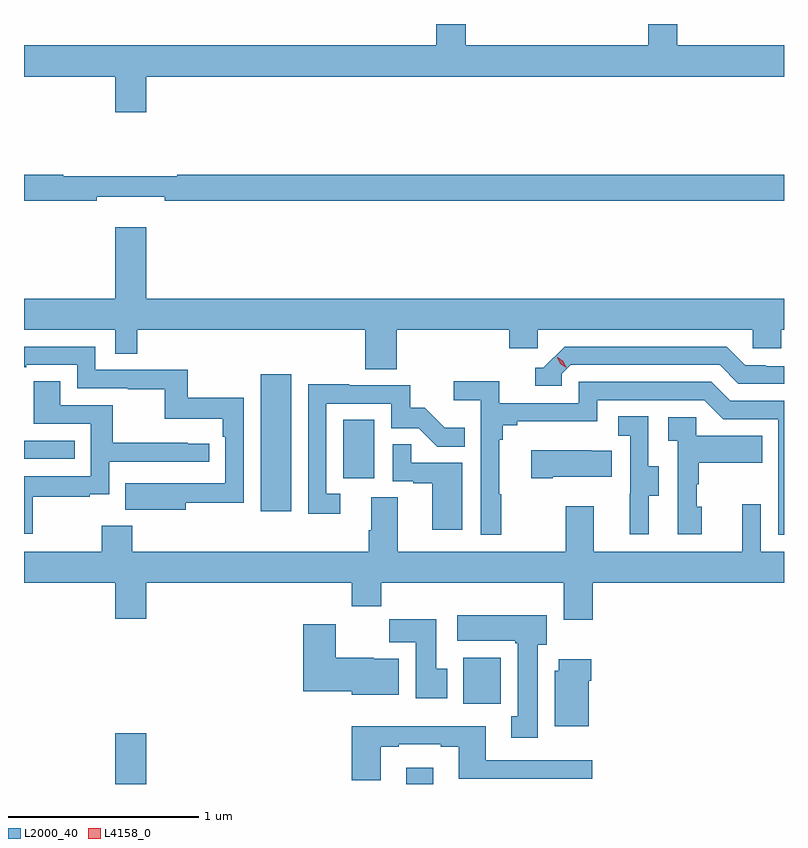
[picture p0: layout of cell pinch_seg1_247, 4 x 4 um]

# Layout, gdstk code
import gdstk
lib = gdstk.Library(unit=1e-6, precision=1e-09)
def R(c, l, rs):  # rectangles x0, y0, x1, y1
    for r in rs: c.add(gdstk.rectangle(r[:2], r[2:], *l))
def P(c, l, *ps):  # polygons
    for p in ps: c.add(gdstk.Polygon(p, *l))
L2000_40 = (2000, 40)
L4158_0 = (4158, 0)

pinch_seg1_247 = lib.new_cell('pinch_seg1_247')
R(pinch_seg1_247, L2000_40, [(908.264,573.317,908.428,573.583), (909.797,573.317,909.937,573.403), (910.097,573.74,910.294,573.982), (909.029,574.752,909.19,575.473), (909.464,574.926,909.628,575.233), (907.784,575.028,908.051,575.124)])
P(pinch_seg1_247, L2000_40, [(908.428,577.04),(911.784,577.04),(911.784,577.204),(911.222,577.204),(911.222,577.317),(911.069,577.317),(911.069,577.204),(910.109,577.204),(910.109,577.317),(909.953,577.317),(909.953,577.204),(907.784,577.204),(907.784,577.04),(908.264,577.04),(908.264,576.852),(908.428,576.852)],
  [(908.168,576.407),(908.524,576.407),(908.524,576.388),(911.784,576.388),(911.784,576.524),(908.591,576.524),(908.591,576.517),(907.991,576.517),(907.991,576.524),(907.784,576.524),(907.784,576.388),(908.168,576.388)],
  [(909.746,575.708),(910.337,575.708),(910.337,575.61),(910.488,575.61),(910.488,575.708),(911.619,575.708),(911.619,575.61),(911.769,575.61),(911.769,575.708),(911.784,575.708),(911.784,575.872),(908.428,575.872),(908.428,576.247),(908.264,576.247),(908.264,575.872),(907.784,575.872),(907.784,575.708),(908.265,575.708),(908.265,575.581),(908.381,575.581),(908.381,575.708),(909.581,575.708),(909.581,575.5),(909.746,575.5)],
  [(910.614,575.475),(910.662,575.523),(911.445,575.523),(911.544,575.424),(911.784,575.424),(911.784,575.517),(911.688,575.517),(911.688,575.52),(911.581,575.52),(911.482,575.619),(910.629,575.619),(910.518,575.508),(910.475,575.508),(910.475,575.412),(910.614,575.412)],
  [(908.635,574.798),(908.94,574.798),(908.94,575.35),(908.647,575.35),(908.647,575.496),(908.16,575.496),(908.16,575.619),(907.784,575.619),(907.784,575.511),(907.795,575.511),(907.795,575.523),(908.064,575.523),(908.064,575.4),(908.329,575.4),(908.329,575.395),(908.526,575.395),(908.526,575.24),(908.831,575.24),(908.831,575.144),(908.844,575.144),(908.844,574.899),(908.531,574.899),(908.531,574.9),(908.317,574.9),(908.317,574.76),(908.635,574.76)],
  [(907.831,574.83),(908.129,574.83),(908.129,574.841),(908.232,574.841),(908.232,575.013),(908.758,575.013),(908.758,575.109),(908.645,575.109),(908.645,575.114),(908.252,575.114),(908.252,575.31),(907.975,575.31),(907.975,575.438),(907.835,575.438),(907.835,575.214),(908.136,575.214),(908.136,574.938),(907.784,574.938),(907.784,574.635),(907.831,574.635)],
  [(910.297,574.841),(910.285,574.841),(910.285,575.129),(910.304,575.129),(910.304,575.206),(910.381,575.206),(910.381,575.225),(910.8,575.225),(910.8,575.337),(911.364,575.337),(911.463,575.238),(911.754,575.238),(911.754,574.629),(911.784,574.629),(911.784,575.334),(911.5,575.334),(911.401,575.433),(910.704,575.433),(910.704,575.322),(910.286,575.322),(910.286,575.438),(910.047,575.438),(910.047,575.336),(910.188,575.336),(910.188,574.629),(910.297,574.629)],
  [(909.448,574.845),(909.375,574.845),(909.375,575.319),(909.717,575.319),(909.717,575.19),(909.861,575.19),(909.959,575.092),(910.103,575.092),(910.103,575.191),(909.999,575.191),(909.892,575.298),(909.816,575.298),(909.816,575.415),(909.497,575.415),(909.497,575.42),(909.279,575.42),(909.279,574.74),(909.448,574.74)],
  [(911.071,574.834),(911.125,574.834),(911.125,574.989),(911.07,574.989),(911.07,575.252),(910.911,575.252),(910.911,575.149),(910.974,575.149),(910.974,574.845),(910.973,574.845),(910.973,574.632),(911.071,574.632)],
  [(911.35,574.776),(911.325,574.776),(911.325,574.895),(911.335,574.895),(911.335,575.009),(911.669,575.009),(911.669,575.149),(911.322,575.149),(911.322,575.247),(911.175,575.247),(911.175,575.123),(911.226,575.123),(911.226,574.632),(911.35,574.632)],
  [(910.09,575.007),(909.821,575.007),(909.821,575.105),(909.726,575.105),(909.726,574.911),(909.833,574.911),(909.833,574.899),(909.932,574.899),(909.932,574.656),(910.09,574.656)],
  [(910.567,574.934),(910.877,574.934),(910.877,575.071),(910.769,575.071),(910.769,575.074),(910.455,575.074),(910.455,574.927),(910.567,574.927)],
  [(910.778,574.376),(911.784,574.376),(911.784,574.54),(911.661,574.54),(911.661,574.789),(911.564,574.789),(911.564,574.54),(910.783,574.54),(910.783,574.78),(910.636,574.78),(910.636,574.54),(909.751,574.54),(909.751,574.826),(909.611,574.826),(909.611,574.652),(909.599,574.652),(909.599,574.54),(908.354,574.54),(908.354,574.675),(908.194,574.675),(908.194,574.54),(907.784,574.54),(907.784,574.376),(908.264,574.376),(908.264,574.188),(908.428,574.188),(908.428,574.376),(909.509,574.376),(909.509,574.252),(909.665,574.252),(909.665,574.376),(910.625,574.376),(910.625,574.182),(910.778,574.182)],
  [(910.489,574.05),(910.534,574.05),(910.534,574.204),(910.065,574.204),(910.065,574.07),(910.369,574.07),(910.369,574.057),(910.382,574.057),(910.382,573.674),(910.349,573.674),(910.349,573.561),(910.489,573.561)],
  [(910.012,573.924),(909.955,573.924),(909.955,574.183),(909.706,574.183),(909.706,574.064),(909.845,574.064),(909.845,573.768),(910.012,573.768)],
  [(909.757,573.976),(909.624,573.976),(909.624,573.982),(909.424,573.982),(909.424,574.159),(909.254,574.159),(909.254,573.806),(909.51,573.806),(909.51,573.788),(909.757,573.788)],
  [(910.756,573.86),(910.769,573.86),(910.769,573.973),(910.598,573.973),(910.598,573.912),(910.577,573.912),(910.577,573.62),(910.756,573.62)],
  [(909.661,573.513),(909.757,573.513),(909.757,573.525),(909.977,573.525),(909.977,573.513),(910.073,573.513),(910.073,573.344),(910.774,573.344),(910.774,573.441),(910.213,573.441),(910.213,573.622),(909.509,573.622),(909.509,573.336),(909.661,573.336)])
P(pinch_seg1_247, L4158_0, [(910.637,575.508),(910.607,575.529),(910.591,575.562),(910.591,575.562),(910.592,575.562),(910.622,575.542),(910.638,575.509),(910.638,575.508)])

lib.write_gds('pinch_seg1_247.gds')
